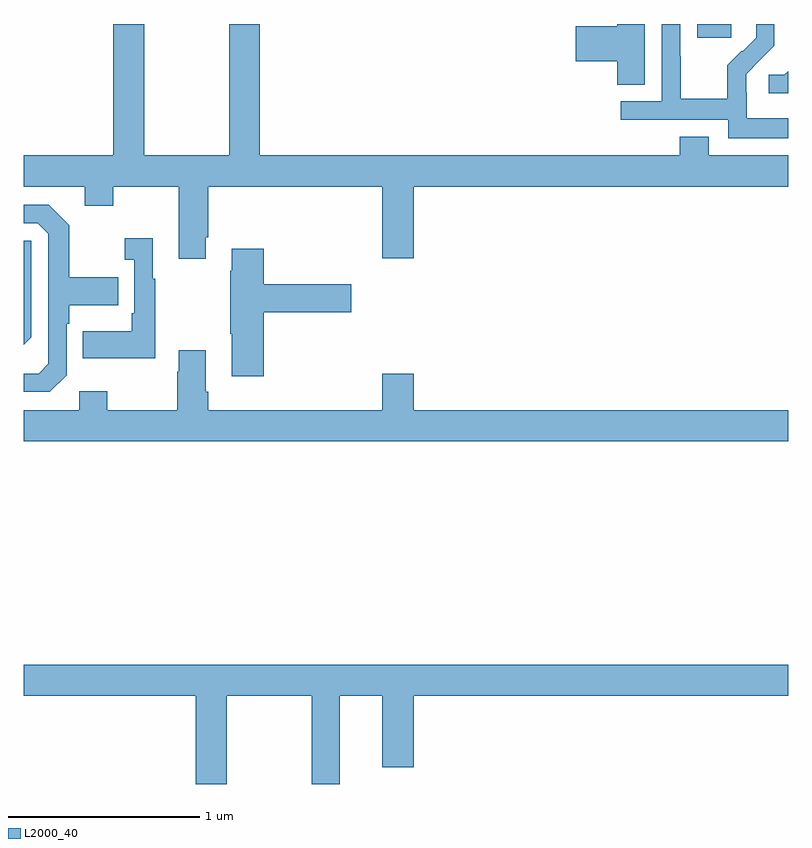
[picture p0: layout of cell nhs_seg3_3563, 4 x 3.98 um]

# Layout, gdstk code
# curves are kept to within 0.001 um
import gdstk
lib = gdstk.Library(unit=1e-6, precision=1e-09)
def R(c, l, rs):  # rectangles x0, y0, x1, y1
    for r in rs: c.add(gdstk.rectangle(r[:2], r[2:], *l))
def P(c, l, *ps):  # polygons
    for p in ps: c.add(gdstk.Polygon(p, *l))
L2000_40 = (2000, 40)

nhs_seg3_3563 = lib.new_cell('nhs_seg3_3563')
R(nhs_seg3_3563, L2000_40, [(298.523,736.329,298.702,736.4)])
P(nhs_seg3_3563, L2000_40, [(295.951,735.283),(295.964,735.283),(295.964,735.548),(296.876,735.548),(296.876,735.174),(297.04,735.174),(297.04,735.548),(299,735.548),(299,735.712),(298.585,735.712),(298.585,735.811),(298.433,735.811),(298.433,735.712),(296.234,735.712),(296.234,736.4),(296.074,736.4),(296.074,735.712),(295.629,735.712),(295.629,736.4),(295.469,736.4),(295.469,735.712),(295,735.712),(295,735.548),(295.319,735.548),(295.319,735.449),(295.467,735.449),(295.467,735.548),(295.811,735.548),(295.811,735.171),(295.951,735.171)],
  [(298.249,736.4),(298.106,736.4),(298.106,736.388),(297.888,736.388),(297.888,736.205),(298.106,736.205),(298.106,736.081),(298.249,736.081)],
  [(299,735.907),(298.782,735.907),(298.782,736.041),(298.78,736.041),(298.78,736.138),(298.926,736.286),(298.926,736.4),(298.832,736.4),(298.832,736.328),(298.761,736.257),(298.758,736.26),(298.681,736.183),(298.681,736.009),(298.437,736.009),(298.437,736.232),(298.434,736.232),(298.434,736.4),(298.338,736.4),(298.338,735.996),(298.125,735.996),(298.125,735.9),(298.686,735.9),(298.686,735.803),(299,735.803)],
  [(299,736.154),(298.98,736.134),(298.899,736.134),(298.899,736.037),(299,736.037)],
  [(295.224,734.562),(295.224,734.831),(295.237,734.831),(295.237,734.927),(295.493,734.927),(295.493,735.075),(295.237,735.075),(295.237,735.347),(295.131,735.453),(295,735.453),(295,735.357),(295.074,735.357),(295.128,735.303),(295.128,734.622),(295.077,734.571),(295,734.571),(295,734.475),(295.137,734.475)],
  [(295.687,735.067),(295.675,735.067),(295.675,735.28),(295.527,735.28),(295.527,735.167),(295.578,735.167),(295.578,734.887),(295.566,734.887),(295.566,734.791),(295.309,734.791),(295.309,734.651),(295.687,734.651)],
  [(295.038,734.76),(295.038,735.267),(295,735.267),(295,734.722)],
  [(296.255,734.891),(296.713,734.891),(296.713,735.038),(296.255,735.038),(296.255,735.223),(296.087,735.223),(296.087,735.11),(296.08,735.11),(296.08,734.779),(296.087,734.779),(296.087,734.556),(296.255,734.556)],
  [(299,734.38),(297.04,734.38),(297.04,734.569),(296.876,734.569),(296.876,734.38),(295.964,734.38),(295.964,734.476),(295.951,734.476),(295.951,734.692),(295.811,734.692),(295.811,734.579),(295.804,734.579),(295.804,734.38),(295.437,734.38),(295.437,734.479),(295.29,734.479),(295.29,734.38),(295,734.38),(295,734.216),(299,734.216)],
  [(296.061,732.884),(296.506,732.884),(296.506,732.423),(296.653,732.423),(296.653,732.884),(296.876,732.884),(296.876,732.51),(297.04,732.51),(297.04,732.884),(299,732.884),(299,733.048),(295,733.048),(295,732.884),(295.901,732.884),(295.901,732.423),(296.061,732.423)])

lib.write_gds('nhs_seg3_3563.gds')
